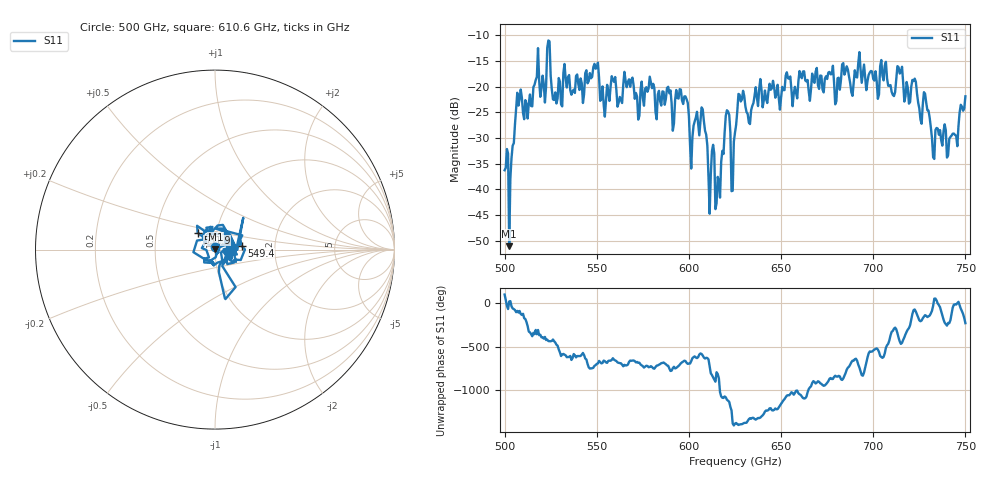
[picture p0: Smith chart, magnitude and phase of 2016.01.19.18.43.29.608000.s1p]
!Created with skrf (http://scikit-rf.org).
# GHz S RI R 50.0
!freq ReS11 ImS11
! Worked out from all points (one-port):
!   401 points, 500 GHz to 750 GHz, reference 50 ohm
!   lowest |S11| = -51.1 dB at 502.5 GHz (marker M1), VSWR 1.01, Z = 50.3 + j0.0608 ohm
!   |S11| at or under -10 dB: start of sweep to end of sweep
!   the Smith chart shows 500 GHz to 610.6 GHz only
!   S11 on the Smith chart (normalised r, x): 500 GHz: 1.00, +0.03; 531.9 GHz: 0.81, +0.16; 549.4 GHz: 1.35, +0.06; 610.6 GHz: 1.01, +0.03
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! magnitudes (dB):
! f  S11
! 500 GHz  -36.3
! 502.5 GHz  -51.1
! 508.1 GHz  -22.5
! 520.6 GHz  -17.9
! 523.8 GHz  -11.0
! 526.9 GHz  -22.6
! 531.2 GHz  -23.9
! 531.9 GHz  -17.4
! 549.4 GHz  -16.5
! 553.1 GHz  -20.0
! 558.8 GHz  -18.6
! 562.5 GHz  -22.0
! 593.8 GHz  -22.2
! 598.8 GHz  -22.5
! 601.2 GHz  -36.0
! 608.1 GHz  -26.7
! 610.6 GHz  -37.7
! 615.6 GHz  -37.6
! 620.6 GHz  -24.6
! 623.8 GHz  -40.3
! 625 GHz  -29.0
! 628.1 GHz  -22.9
! 656.2 GHz  -23.8
! 687.5 GHz  -19.3
! 714.4 GHz  -17.4
! 718.8 GHz  -20.2
! 741.2 GHz  -30.2
! 750 GHz  -21.9
